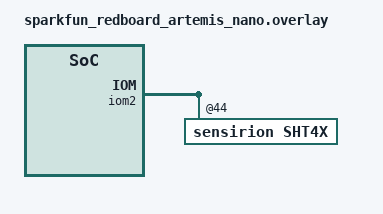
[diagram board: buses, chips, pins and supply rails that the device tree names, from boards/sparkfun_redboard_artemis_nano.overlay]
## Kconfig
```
#
# Copyright (c) 2021 Leonard Pollak
#
# SPDX-License-Identifier: Apache-2.0
#

mainmenu "SHT4X sample application"


config APP_USE_HEATER
	bool "Use the Heater on the SHT4X"
	default n
	help
		Maximum duty cycle for using the heater is 5%

config APP_HEATER_HUMIDITY_THRESH
	int "RH [%] threshold above which the heater will be activated"
	range 0 99
	default 65
	depends on APP_USE_HEATER

config APP_HEATER_PULSE_POWER
	int "Heater Power Setting"
	range 0 2
	default 2
	depends on APP_USE_HEATER
	help
		0 -> High power heater pulse -> ~200 mW  @3.3V
		1 -> Medium power heater pulse -> ~110 mW  @3.3V
		2 -> Low power heater pulse -> ~20 mW  @3.3V

config APP_HEATER_PULSE_DURATION
	int "Heater Pulse Length Setting"
	range 0 1
	default 1
	depends on APP_USE_HEATER
	help
		0 -> Long heater pulse -> 1.1s
		1 -> Short heater pulse -> 0.11s

source "Kconfig.zephyr"
```

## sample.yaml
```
#
# Copyright (c) 2021 Leonard Pollak
#
# SPDX-License-Identifier: Apache-2.0
#

sample:
  name: SHT4X Sensor Sample
tests:
  sample.sensor.sht4x:
    build_only: true
    platform_allow: blackpill_f411ce
    tags: sensors
```

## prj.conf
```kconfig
CONFIG_CBPRINTF_FP_SUPPORT=y
CONFIG_I2C=y
CONFIG_SENSOR=y
CONFIG_PM_DEVICE=y

CONFIG_LOG=y
CONFIG_LOG_MODE_IMMEDIATE=y
CONFIG_LOG_DEFAULT_LEVEL=4
CONFIG_I2C_LOG_LEVEL_DBG=y
CONFIG_SENSOR_LOG_LEVEL_DBG=y
```

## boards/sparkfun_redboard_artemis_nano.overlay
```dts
&iom2 {
	status = "okay";
	sht4x@44 {
		status = "okay";
		compatible = "sensirion,sht4x";
		reg = <0x44>;
		repeatability = <2>;
	};
};
```

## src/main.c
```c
/*
 * Copyright (c) 2021 Leonard Pollak
 *
 * SPDX-License-Identifier: Apache-2.0
 */

#include <zephyr/kernel.h>
#include <zephyr/device.h>
#include <zephyr/drivers/sensor.h>
#include <stdio.h>

#include <zephyr/drivers/sensor/sht4x.h>


#if !DT_HAS_COMPAT_STATUS_OKAY(sensirion_sht4x)
#error "No sensirion,sht4x compatible node found in the device tree"
#endif

int main(void)
{

	const struct device *const sht = DEVICE_DT_GET_ANY(sensirion_sht4x);
	struct sensor_value temp, hum;

	if (!device_is_ready(sht)) {
		printf("Device %s is not ready.\n", sht->name);
		return 0;
	} else {
		printf("Device %s is ready.\n", sht->name);
	}

#if CONFIG_APP_USE_HEATER
	struct sensor_value heater_p;
	struct sensor_value heater_d;

	heater_p.val1 = CONFIG_APP_HEATER_PULSE_POWER;
	heater_d.val1 = CONFIG_APP_HEATER_PULSE_DURATION;
	sensor_attr_set(sht, SENSOR_CHAN_ALL,
			SENSOR_ATTR_SHT4X_HEATER_POWER, &heater_p);
	sensor_attr_set(sht, SENSOR_CHAN_ALL,
			SENSOR_ATTR_SHT4X_HEATER_DURATION, &heater_d);
#endif

	while (true) {
		printf("while true\n");

		if (sensor_sample_fetch(sht)) {
			printf("Failed to fetch sample from SHT4X device\n");
			return 0;
		}

		sensor_channel_get(sht, SENSOR_CHAN_AMBIENT_TEMP, &temp);
		sensor_channel_get(sht, SENSOR_CHAN_HUMIDITY, &hum);
#if CONFIG_APP_USE_HEATER
		/*
		 * Conditions in which it makes sense to activate the heater
		 * are application/environment specific.
		 *
		 * The heater should not be used above SHT4X_HEATER_MAX_TEMP (65 °C)
		 * as stated in the datasheet.
		 *
		 * The temperature data will not be updated here for obvious reasons.
		 **/
		if (hum.val1 > CONFIG_APP_HEATER_HUMIDITY_THRESH &&
				temp.val1 < SHT4X_HEATER_MAX_TEMP) {
			printf("Activating heater.\n");

			if (sht4x_fetch_with_heater(sht)) {
				printf("Failed to fetch sample from SHT4X device\n");
				return 0;
			}

			sensor_channel_get(sht, SENSOR_CHAN_HUMIDITY, &hum);
		}
#endif


		printf("SHT4X: %.2f Temp. [C] ; %0.2f RH [%%]\n",
		       sensor_value_to_double(&temp),
		       sensor_value_to_double(&hum));

		/* Maximum duty cycle for using the heater is 5% */
#if CONFIG_APP_USE_HEATER && CONFIG_APP_HEATER_PULSE_DURATION == 0
		k_sleep(K_MSEC(20000));
#else
		k_sleep(K_MSEC(2000));
#endif
	}
}
```
